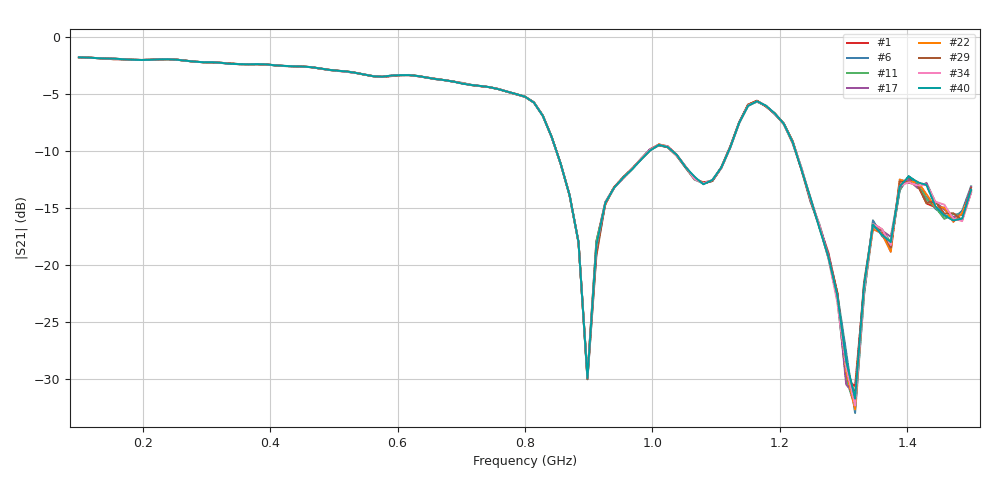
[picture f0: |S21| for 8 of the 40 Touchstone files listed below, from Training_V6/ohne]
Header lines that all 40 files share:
! NanoVNA-App
! Start: 100MHz Stop: 1,5GHz Points: 101
! S-Parameter data: F S11 S21 S12 S22
# Hz S RI R 50
!  Frequency  S11_Real  S11_Imag  S21_Real  S21_Imag  S12_Real  S12_Imag  S22_Real  S22_Imag
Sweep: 100 MHz to 1.5 GHz
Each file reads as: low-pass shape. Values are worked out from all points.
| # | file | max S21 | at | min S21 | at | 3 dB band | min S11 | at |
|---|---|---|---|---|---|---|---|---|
| 1 | ohne (1).s2p | -1.79 dB | 100 MHz | -30.6 dB | 1.318 GHz | 100 MHz-758 MHz | -40.9 dB | 716 MHz |
| 2 | ohne (2).s2p | -1.79 dB | 100 MHz | -33.4 dB | 1.318 GHz | 100 MHz-758 MHz | -40.8 dB | 716 MHz |
| 3 | ohne (3).s2p | -1.79 dB | 100 MHz | -34.3 dB | 1.318 GHz | 100 MHz-758 MHz | -40.6 dB | 716 MHz |
| 4 | ohne (4).s2p | -1.79 dB | 100 MHz | -32.9 dB | 1.318 GHz | 100 MHz-758 MHz | -40.3 dB | 716 MHz |
| 5 | ohne (5).s2p | -1.79 dB | 100 MHz | -32.7 dB | 1.318 GHz | 100 MHz-758 MHz | -41.4 dB | 716 MHz |
| 6 | ohne (6).s2p | -1.79 dB | 100 MHz | -32.9 dB | 1.318 GHz | 100 MHz-758 MHz | -41.0 dB | 716 MHz |
| 7 | ohne (7).s2p | -1.79 dB | 100 MHz | -31.1 dB | 1.318 GHz | 100 MHz-758 MHz | -41.1 dB | 716 MHz |
| 8 | ohne (8).s2p | -1.79 dB | 100 MHz | -33.2 dB | 1.318 GHz | 100 MHz-758 MHz | -41.0 dB | 716 MHz |
| 9 | ohne (9).s2p | -1.79 dB | 100 MHz | -32.9 dB | 1.318 GHz | 100 MHz-758 MHz | -40.2 dB | 716 MHz |
| 10 | ohne (10).s2p | -1.79 dB | 100 MHz | -32.3 dB | 1.318 GHz | 100 MHz-758 MHz | -40.7 dB | 716 MHz |
| 11 | ohne (11).s2p | -1.79 dB | 100 MHz | -32.4 dB | 1.318 GHz | 100 MHz-758 MHz | -41.3 dB | 716 MHz |
| 12 | ohne (12).s2p | -1.79 dB | 100 MHz | -32.4 dB | 1.318 GHz | 100 MHz-758 MHz | -40.1 dB | 716 MHz |
| 13 | ohne (13).s2p | -1.79 dB | 100 MHz | -36.4 dB | 1.318 GHz | 100 MHz-758 MHz | -41.3 dB | 716 MHz |
| 14 | ohne (14).s2p | -1.79 dB | 100 MHz | -32.7 dB | 1.318 GHz | 100 MHz-758 MHz | -40.3 dB | 716 MHz |
| 15 | ohne (15).s2p | -1.79 dB | 100 MHz | -34.5 dB | 1.318 GHz | 100 MHz-758 MHz | -40.1 dB | 716 MHz |
| 16 | ohne (16).s2p | -1.79 dB | 100 MHz | -34.0 dB | 1.318 GHz | 100 MHz-758 MHz | -40.2 dB | 716 MHz |
| 17 | ohne (17).s2p | -1.79 dB | 100 MHz | -31.4 dB | 1.318 GHz | 100 MHz-758 MHz | -40.6 dB | 716 MHz |
| 18 | ohne (18).s2p | -1.79 dB | 100 MHz | -35.4 dB | 1.318 GHz | 100 MHz-758 MHz | -40.3 dB | 716 MHz |
| 19 | ohne (19).s2p | -1.79 dB | 100 MHz | -33.5 dB | 1.318 GHz | 100 MHz-772 MHz | -41.2 dB | 716 MHz |
| 20 | ohne (20).s2p | -1.79 dB | 100 MHz | -31.5 dB | 1.318 GHz | 100 MHz-758 MHz | -41.0 dB | 716 MHz |
| 21 | ohne (21).s2p | -1.79 dB | 100 MHz | -31.5 dB | 1.318 GHz | 100 MHz-758 MHz | -40.4 dB | 716 MHz |
| 22 | ohne (22).s2p | -1.79 dB | 100 MHz | -32.6 dB | 1.318 GHz | 100 MHz-758 MHz | -41.3 dB | 716 MHz |
| 23 | ohne (23).s2p | -1.79 dB | 100 MHz | -32.4 dB | 1.318 GHz | 100 MHz-758 MHz | -40.1 dB | 716 MHz |
| 24 | ohne (24).s2p | -1.79 dB | 100 MHz | -34.1 dB | 1.318 GHz | 100 MHz-758 MHz | -40.2 dB | 716 MHz |
| 25 | ohne (25).s2p | -1.79 dB | 100 MHz | -31.4 dB | 1.318 GHz | 100 MHz-758 MHz | -41.0 dB | 716 MHz |
| 26 | ohne (26).s2p | -1.79 dB | 100 MHz | -34.4 dB | 1.318 GHz | 100 MHz-772 MHz | -40.1 dB | 716 MHz |
| 27 | ohne (27).s2p | -1.79 dB | 100 MHz | -31.6 dB | 1.318 GHz | 100 MHz-772 MHz | -41.3 dB | 716 MHz |
| 28 | ohne (28).s2p | -1.79 dB | 100 MHz | -34.8 dB | 1.318 GHz | 100 MHz-758 MHz | -41.5 dB | 716 MHz |
| 29 | ohne (29).s2p | -1.79 dB | 100 MHz | -31.4 dB | 1.318 GHz | 100 MHz-758 MHz | -41.3 dB | 716 MHz |
| 30 | ohne (30).s2p | -1.79 dB | 100 MHz | -34.3 dB | 1.318 GHz | 100 MHz-758 MHz | -40.1 dB | 716 MHz |
| 31 | ohne (31).s2p | -1.79 dB | 100 MHz | -32.4 dB | 1.318 GHz | 100 MHz-758 MHz | -40.2 dB | 716 MHz |
| 32 | ohne (32).s2p | -1.79 dB | 100 MHz | -31.5 dB | 1.318 GHz | 100 MHz-758 MHz | -40.3 dB | 716 MHz |
| 33 | ohne (33).s2p | -1.79 dB | 100 MHz | -33.5 dB | 1.318 GHz | 100 MHz-758 MHz | -40.7 dB | 716 MHz |
| 34 | ohne (34).s2p | -1.79 dB | 100 MHz | -32.3 dB | 1.318 GHz | 100 MHz-758 MHz | -40.2 dB | 716 MHz |
| 35 | ohne (35).s2p | -1.79 dB | 100 MHz | -32.2 dB | 1.318 GHz | 100 MHz-758 MHz | -40.3 dB | 716 MHz |
| 36 | ohne (36).s2p | -1.79 dB | 100 MHz | -35.3 dB | 1.318 GHz | 100 MHz-758 MHz | -41.0 dB | 716 MHz |
| 37 | ohne (37).s2p | -1.79 dB | 100 MHz | -32.7 dB | 1.318 GHz | 100 MHz-758 MHz | -40.9 dB | 716 MHz |
| 38 | ohne (38).s2p | -1.79 dB | 100 MHz | -34.5 dB | 1.318 GHz | 100 MHz-758 MHz | -40.8 dB | 716 MHz |
| 39 | ohne (39).s2p | -1.79 dB | 100 MHz | -33.9 dB | 1.318 GHz | 100 MHz-758 MHz | -41.3 dB | 716 MHz |
| 40 | ohne (40).s2p | -1.79 dB | 100 MHz | -31.7 dB | 1.318 GHz | 100 MHz-758 MHz | -41.5 dB | 716 MHz |
